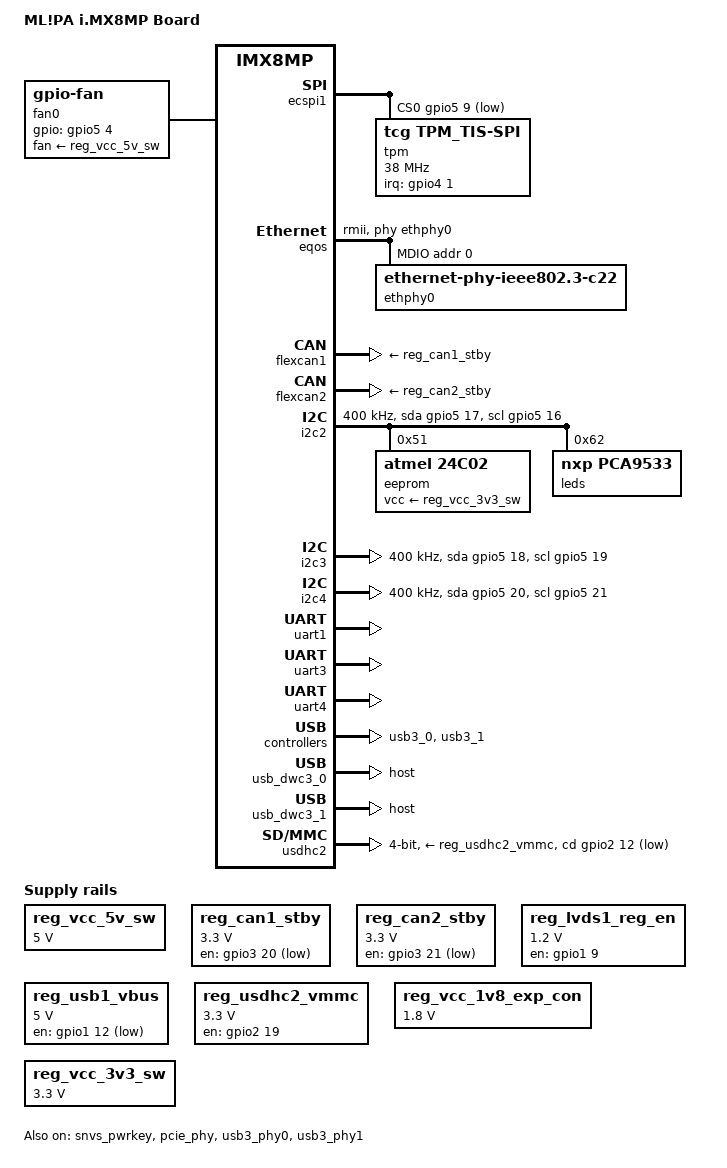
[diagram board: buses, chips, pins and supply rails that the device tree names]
// SPDX-License-Identifier: (GPL-2.0-or-later OR MIT)
/*
 * Copyright (C) 2020 PHYTEC Messtechnik GmbH
 * Author: Teresa Remmet <t.remmet@phytec.de>
 */

/dts-v1/;

#include <dt-bindings/phy/phy-imx8-pcie.h>
#include <dt-bindings/leds/leds-pca9532.h>
#include <dt-bindings/thermal/thermal.h>
#include "imx8mp-phycore-som.dtsi"

/ {
	model = "ML!PA i.MX8MP Board";
	compatible = "phytec,imx8mp-mlpa", "phytec,imx8mp-phycore-som", "fsl,imx8mp";

	chosen {
		stdout-path = &uart1;
	};

	backlight_lvds1: backlight1 {
		compatible = "pwm-backlight";
		pinctrl-0 = <&pinctrl_lvds1>;
		pinctrl-names = "default";
		power-supply = <&reg_lvds1_reg_en>;
		status = "disabled";
	};

	fan0: fan {
		compatible = "gpio-fan";
		pinctrl-names = "default";
		pinctrl-0 = <&pinctrl_fan>;
		fan-supply = <&reg_vcc_5v_sw>;
		gpio-fan,speed-map = <0     0
				      13000 1>;
		gpios = <&gpio5 4 GPIO_ACTIVE_HIGH>;
		#cooling-cells = <2>;
	};

	panel_lvds1: panel-lvds1 {
		/* compatible panel in overlay */
		backlight = <&backlight_lvds1>;
		power-supply = <&reg_vcc_3v3_sw>;
		status = "disabled";

		port {
			panel1_in: endpoint {
				remote-endpoint = <&mlpa_ldb_lvds_ch1>;
			};
		};
	};

	reg_vcc_5v_sw: regulator-vcc-5v-sw {
		compatible = "regulator-fixed";
		regulator-always-on;
		regulator-boot-on;
		regulator-max-microvolt = <5000000>;
		regulator-min-microvolt = <5000000>;
		regulator-name = "VCC_5V_SW";
	};

	/* Minimal local LDB node to keep MLPA LVDS endpoint wiring buildable. */
	ldb: ldb-display-controller {
		#address-cells = <1>;
		#size-cells = <0>;
		compatible = "fsl,imx8mp-ldb";
		status = "disabled";

		lvds-channel@0 {
			reg = <0>;
			status = "disabled";
		};

		lvds-channel@1 {
			reg = <1>;
			status = "disabled";
		};
	};

	reg_can1_stby: regulator-can1-stby {
		compatible = "regulator-fixed";
		pinctrl-names = "default";
		pinctrl-0 = <&pinctrl_flexcan1_reg>;
		gpio = <&gpio3 20 GPIO_ACTIVE_LOW>;
		regulator-max-microvolt = <3300000>;
		regulator-min-microvolt = <3300000>;
		regulator-name = "can1-stby";
	};

	reg_can2_stby: regulator-can2-stby {
		compatible = "regulator-fixed";
		pinctrl-names = "default";
		pinctrl-0 = <&pinctrl_flexcan2_reg>;
		gpio = <&gpio3 21 GPIO_ACTIVE_LOW>;
		regulator-max-microvolt = <3300000>;
		regulator-min-microvolt = <3300000>;
		regulator-name = "can2-stby";
	};

	reg_lvds1_reg_en: regulator-lvds1 {
		compatible = "regulator-fixed";
		enable-active-high;
		gpio = <&gpio1 9 GPIO_ACTIVE_HIGH>;
		regulator-max-microvolt = <1200000>;
		regulator-min-microvolt = <1200000>;
		regulator-name = "lvds1_reg_en";
	};

	reg_usb1_vbus: regulator-usb1-vbus {
		compatible = "regulator-fixed";
		pinctrl-names = "default";
		pinctrl-0 = <&pinctrl_usb1_vbus>;
		gpio = <&gpio1 12 GPIO_ACTIVE_LOW>;
		regulator-max-microvolt = <5000000>;
		regulator-min-microvolt = <5000000>;
		regulator-name = "usb1_host_vbus";
	};

	reg_usdhc2_vmmc: regulator-usdhc2 {
		compatible = "regulator-fixed";
		pinctrl-names = "default";
		pinctrl-0 = <&pinctrl_reg_usdhc2_vmmc>;
		regulator-name = "VSD_3V3";
		regulator-min-microvolt = <3300000>;
		regulator-max-microvolt = <3300000>;
		gpio = <&gpio2 19 GPIO_ACTIVE_HIGH>;
		enable-active-high;
		startup-delay-us = <100>;
		off-on-delay-us = <12000>;
	};

	reg_vcc_1v8_exp_con: regulator-vcc-1v8 {
		compatible = "regulator-fixed";
		regulator-always-on;
		regulator-boot-on;
		regulator-max-microvolt = <1800000>;
		regulator-min-microvolt = <1800000>;
		regulator-name = "VCC_1V8_EXP_CON";
	};

	reg_vcc_3v3_sw: regulator-vcc-3v3-sw {
		compatible = "regulator-fixed";
		regulator-name = "VCC_3V3_SW";
		regulator-min-microvolt = <3300000>;
		regulator-max-microvolt = <3300000>;
	};

	thermal-zones {
		soc-thermal {
			trips {
				active1: trip2 {
					temperature = <60000>;
					hysteresis = <2000>;
					type = "active";
				};
			};

			cooling-maps {
				map1 {
					trip = <&active1>;
					cooling-device = <&fan0 1 THERMAL_NO_LIMIT>;
				};
			};
		};
	};
};

/* TPM */
&ecspi1 {
	#address-cells = <1>;
	#size-cells = <0>;
	cs-gpios = <&gpio5 9 GPIO_ACTIVE_LOW>;
	num-cs = <1>;
	pinctrl-names = "default";
	pinctrl-0 = <&pinctrl_ecspi1 &pinctrl_ecspi1_cs>;
	status = "okay";

	tpm: tpm_tis@0 {
		compatible = "tcg,tpm_tis-spi","infineon,slb9670";
		interrupts = <1 IRQ_TYPE_LEVEL_LOW>;
		interrupt-parent = <&gpio4>;
		pinctrl-names = "default";
		pinctrl-0 = <&pinctrl_tpm>;
		reg = <0>;
		spi-max-frequency = <38000000>;
		status = "okay";
	};
};

&fec {
	/* SIL0 board does not have Gigabit wired up */
	max-speed = <100>;
};

&eqos {
	pinctrl-names = "default";
	pinctrl-0 = <&pinctrl_eqos>;
	phy-mode = "rmii";
	phy-handle = <&ethphy0>;
	status = "okay";
	max-speed = <100>;
	snps,rmii_refclk_ext;

	mdio {
		compatible = "snps,dwmac-mdio";
		#address-cells = <1>;
		#size-cells = <0>;

		ethphy0: ethernet-phy@0 {
			compatible = "ethernet-phy-ieee802.3-c22";
			reg = <0x0>;
		};
	};
};

/* CAN FD */
&flexcan1 {
	pinctrl-names = "default";
	pinctrl-0 = <&pinctrl_flexcan1>;
	xceiver-supply = <&reg_can1_stby>;
	status = "okay";
};

&flexcan2 {
	pinctrl-names = "default";
	pinctrl-0 = <&pinctrl_flexcan2>;
	xceiver-supply = <&reg_can2_stby>;
	status = "okay";
};

&i2c2 {
	clock-frequency = <400000>;
	pinctrl-names = "default", "gpio";
	pinctrl-0 = <&pinctrl_i2c2>;
	pinctrl-1 = <&pinctrl_i2c2_gpio>;
	sda-gpios = <&gpio5 17 (GPIO_ACTIVE_HIGH | GPIO_OPEN_DRAIN)>;
	scl-gpios = <&gpio5 16 (GPIO_ACTIVE_HIGH | GPIO_OPEN_DRAIN)>;
	status = "okay";

	eeprom@51 {
		compatible = "atmel,24c02";
		reg = <0x51>;
		pagesize = <16>;
		vcc-supply = <&reg_vcc_3v3_sw>;
	};

	leds@62 {
		compatible = "nxp,pca9533";
		reg = <0x62>;

		led-1 {
			type = <PCA9532_TYPE_LED>;
		};

		led-2 {
			type = <PCA9532_TYPE_LED>;
		};

		led-3 {
			type = <PCA9532_TYPE_LED>;
		};
	};
};

&i2c3 {
       clock-frequency = <400000>;
       pinctrl-names = "default", "gpio";
       pinctrl-0 = <&pinctrl_i2c3>;
       pinctrl-1 = <&pinctrl_i2c3_gpio>;
       sda-gpios = <&gpio5 18 (GPIO_ACTIVE_HIGH | GPIO_OPEN_DRAIN)>;
       scl-gpios = <&gpio5 19 (GPIO_ACTIVE_HIGH | GPIO_OPEN_DRAIN)>;
};

csi3_i2c: &i2c4 {
	clock-frequency = <400000>;
	pinctrl-names = "default", "gpio";
	pinctrl-0 = <&pinctrl_i2c4>;
	pinctrl-1 = <&pinctrl_i2c4_gpio>;
	sda-gpios = <&gpio5 20 (GPIO_ACTIVE_HIGH | GPIO_OPEN_DRAIN)>;
	scl-gpios = <&gpio5 21 (GPIO_ACTIVE_HIGH | GPIO_OPEN_DRAIN)>;
	status = "okay";
};

&ldb {
	lvds-channel@0 {
		status = "disabled";
	};

	lvds-channel@1 {
		#address-cells = <1>;
		#size-cells = <0>;
		fsl,data-mapping = "spwg";
		fsl,data-width = <24>;
		status = "okay";

		port@1 {
			reg = <1>;

				mlpa_ldb_lvds_ch1: endpoint {
				remote-endpoint = <&panel1_in>;
			};
		};
	};
};

&snvs_pwrkey {
	status = "okay";
};

&pcie_phy {
	clocks = <&hsio_blk_ctrl>;
	clock-names = "ref";
	fsl,refclk-pad-mode = <IMX8_PCIE_REFCLK_PAD_OUTPUT>;
	fsl,clkreq-unsupported;
	status = "okay";
};

/* Mini PCIe */
&pcie {
	status = "disabled";
};

&pwm3 {
	pinctrl-0 = <&pinctrl_pwm3>;
	pinctrl-names = "default";
};

&rv3028 {
	status = "disabled";
};

/* debug console */
&uart1 {
	pinctrl-names = "default";
	pinctrl-0 = <&pinctrl_uart1>;
	status = "okay";
};

&uart3 {
	pinctrl-names = "default";
	pinctrl-0 = <&pinctrl_uart3>;
	assigned-clocks = <&clk IMX8MP_CLK_UART3>;
	assigned-clock-parents = <&clk IMX8MP_SYS_PLL1_80M>;
	status = "okay";
};

&uart4 {
	pinctrl-names = "default";
	pinctrl-0 = <&pinctrl_uart4>;
	assigned-clocks = <&clk IMX8MP_CLK_UART4>;
	assigned-clock-parents = <&clk IMX8MP_SYS_PLL1_80M>;
	status = "okay";
};

/* USB */
&usb3_phy0 {
	status = "okay";
};

&usb3_0 {
	status = "okay";
};

&usb_dwc3_0 {
	dr_mode = "host";
	status = "okay";
};

&usb3_phy1 {
	status = "okay";
};

&usb3_1 {
	status = "okay";
};

&usb_dwc3_1 {
	dr_mode = "host";
	status = "okay";
};

/* SD-Card */
&usdhc2 {
	assigned-clocks = <&clk IMX8MP_CLK_USDHC2>;
	assigned-clock-rates = <200000000>;
	pinctrl-names = "default", "state_100mhz", "state_200mhz";
	pinctrl-0 = <&pinctrl_usdhc2>, <&pinctrl_usdhc2_pins>;
	pinctrl-1 = <&pinctrl_usdhc2_100mhz>, <&pinctrl_usdhc2_pins>;
	pinctrl-2 = <&pinctrl_usdhc2_200mhz>, <&pinctrl_usdhc2_pins>;
	cd-gpios = <&gpio2 12 GPIO_ACTIVE_LOW>;
	disable-wp;
	vmmc-supply = <&reg_usdhc2_vmmc>;
	vqmmc-supply = <&ldo5>;
	bus-width = <4>;
	status = "okay";
};

&gpio1 {
	gpio-line-names = "", "", "X_PMIC_WDOG_B", "",
		"PMIC_SD_VSEL", "", "", "", "PCIe_nPERST", "LVDS1REG_EN",
		"PCIe_nWAKE", "PCIe_nCLKREQ", "USB1_OTG_PWR", "",
		"PCIe_nW_DISABLE";
};

&gpio2 {
	gpio-line-names = "", "", "", "",
		"", "", "", "", "", "",
		"", "", "X_SD2_CD_B", "", "", "",
		"", "", "", "SD2_RESET_B", "LVDS1_BL_EN";
};

&gpio3 {
	gpio-line-names = "", "", "", "",
		"", "", "", "", "", "",
		"", "", "", "", "", "",
		"", "", "", "", "nCAN1_EN", "nCAN2_EN";
};

&gpio4 {
	gpio-line-names = "", "", "", "",
		"", "", "", "", "", "",
		"", "", "", "", "", "",
		"", "", "X_PMIC_IRQ_B", "nRTC_INT", "nENET0_INT_PWDN";
};

&gpio5 {
	gpio-line-names = "", "", "", "",
		"", "", "", "", "", "X_ECSPI1_SSO";
};

&iomuxc {
	pinctrl_ecspi1: ecspi1grp {
		fsl,pins = <
			MX8MP_IOMUXC_ECSPI1_MISO__ECSPI1_MISO	0x80
			MX8MP_IOMUXC_ECSPI1_MOSI__ECSPI1_MOSI	0x80
			MX8MP_IOMUXC_ECSPI1_SCLK__ECSPI1_SCLK	0x80
		>;
	};

	pinctrl_ecspi1_cs: ecspi1csgrp {
		fsl,pins = <
			MX8MP_IOMUXC_ECSPI1_SS0__GPIO5_IO09	0x00
		>;
	};

	pinctrl_tpm: tpmgrp {
		fsl,pins = <
			MX8MP_IOMUXC_SAI1_RXC__GPIO4_IO01	0x140
		>;
	};

    pinctrl_eqos: eqosgrp {
        fsl,pins = <
			MX8MP_IOMUXC_ENET_MDC__ENET_QOS_MDC             0x2	/* A32 */
			MX8MP_IOMUXC_ENET_MDIO__ENET_QOS_MDIO           0x2	/* A15 */
			MX8MP_IOMUXC_ENET_TD0__ENET_QOS_RGMII_TD0       0x16	/* A17 */
			MX8MP_IOMUXC_ENET_TD1__ENET_QOS_RGMII_TD1       0x16	/* A18 */
			MX8MP_IOMUXC_ENET_TD2__CCM_ENET_QOS_CLOCK_GENERATE_REF_CLK      0x90	/* A19 */
			MX8MP_IOMUXC_ENET_TX_CTL__ENET_QOS_RGMII_TX_CTL 0x16	/* A22 */
			MX8MP_IOMUXC_ENET_RX_CTL__ENET_QOS_RGMII_RX_CTL 0x90	/* A24 */
			MX8MP_IOMUXC_ENET_RXC__ENET_QOS_RX_ER           0x90	/* A25 */
			MX8MP_IOMUXC_ENET_RD0__ENET_QOS_RGMII_RD0       0x90	/* A27 */
			MX8MP_IOMUXC_ENET_RD1__ENET_QOS_RGMII_RD1       0x90	/* A28 */
		>;
	};

	pinctrl_fan: fan0grp {
		fsl,pins = <
			MX8MP_IOMUXC_SPDIF_RX__GPIO5_IO04       0x16
		>;
	};

	pinctrl_flexcan1: flexcan1grp {
		fsl,pins = <
			MX8MP_IOMUXC_SAI5_RXD2__CAN1_RX		0x154
			MX8MP_IOMUXC_SAI5_RXD1__CAN1_TX		0x154
		>;
	};

	pinctrl_flexcan2: flexcan2grp {
		fsl,pins = <
			MX8MP_IOMUXC_SAI5_MCLK__CAN2_RX		0x154
			MX8MP_IOMUXC_SAI5_RXD3__CAN2_TX		0x154
		>;
	};

	pinctrl_flexcan1_reg: flexcan1reggrp {
		fsl,pins = <
			MX8MP_IOMUXC_SAI5_RXC__GPIO3_IO20	0x154
		>;
	};

	pinctrl_flexcan2_reg: flexcan2reggrp {
		fsl,pins = <
			MX8MP_IOMUXC_SAI5_RXD0__GPIO3_IO21	0x154
		>;
	};

	pinctrl_i2c2: i2c2grp {
		fsl,pins = <
			MX8MP_IOMUXC_I2C2_SCL__I2C2_SCL		0x400001c2
			MX8MP_IOMUXC_I2C2_SDA__I2C2_SDA		0x400001c2
		>;
	};

	pinctrl_i2c2_gpio: i2c2gpiogrp {
		fsl,pins = <
			MX8MP_IOMUXC_I2C2_SCL__GPIO5_IO16	0x1e2
			MX8MP_IOMUXC_I2C2_SDA__GPIO5_IO17	0x1e2
		>;
	};

	pinctrl_i2c3: i2c3grp {
		fsl,pins = <
			MX8MP_IOMUXC_I2C3_SCL__I2C3_SCL         0x400001c2
			MX8MP_IOMUXC_I2C3_SDA__I2C3_SDA         0x400001c2
		>;
	};

	pinctrl_i2c3_gpio: i2c3gpiogrp {
		fsl,pins = <
			MX8MP_IOMUXC_I2C3_SCL__GPIO5_IO18       0x1e2
			MX8MP_IOMUXC_I2C3_SDA__GPIO5_IO19       0x1e2
		>;
	};

	pinctrl_i2c4: i2c4grp {
		fsl,pins = <
			MX8MP_IOMUXC_I2C4_SCL__I2C4_SCL		0x400001c4
			MX8MP_IOMUXC_I2C4_SDA__I2C4_SDA		0x400001c4
		>;
	};

	pinctrl_i2c4_gpio: i2c4gpiogrp {
		fsl,pins = <
			MX8MP_IOMUXC_I2C4_SCL__GPIO5_IO20	0x1e4
			MX8MP_IOMUXC_I2C4_SDA__GPIO5_IO21	0x1e4
		>;
	};

	pinctrl_lvds1: lvds1grp {
		fsl,pins = <
			MX8MP_IOMUXC_SD2_WP__GPIO2_IO20		0x12
		>;
	};

	pinctrl_pwm3: pwm3grp {
		fsl,pins = <
			MX8MP_IOMUXC_SPDIF_TX__PWM3_OUT		0x12
		>;
	};

	pinctrl_reg_usdhc2_vmmc: regusdhc2vmmcgrp {
		fsl,pins = <
			MX8MP_IOMUXC_SD2_RESET_B__GPIO2_IO19	0x40
		>;
	};

	pinctrl_rtc: rtcgrp {
		fsl,pins = <
			MX8MP_IOMUXC_SAI1_TXD7__GPIO4_IO19	0x1C0
		>;
	};

	pinctrl_uart1: uart1grp {
		fsl,pins = <
			MX8MP_IOMUXC_UART1_RXD__UART1_DCE_RX	0x140
			MX8MP_IOMUXC_UART1_TXD__UART1_DCE_TX	0x140
		>;
	};

	pinctrl_usb1_vbus: usb1vbusgrp {
		fsl,pins = <
			MX8MP_IOMUXC_GPIO1_IO12__GPIO1_IO12     0x10
		>;
	};

	pinctrl_uart3: uart3grp {
		fsl,pins = <
			MX8MP_IOMUXC_UART3_RXD__UART3_DCE_RX	0x49
			MX8MP_IOMUXC_UART3_TXD__UART3_DCE_TX	0x49
		>;
	};

	pinctrl_uart4: uart4grp {
		fsl,pins = <
			MX8MP_IOMUXC_UART4_RXD__UART4_DCE_RX	0x49
			MX8MP_IOMUXC_UART4_TXD__UART4_DCE_TX	0x49
		>;
	};
	pinctrl_usdhc2_pins: usdhc2-gpiogrp {
		fsl,pins = <
			MX8MP_IOMUXC_SD2_CD_B__GPIO2_IO12	0x40
		>;
	};

	pinctrl_usdhc2: usdhc2grp {
		fsl,pins = <
			MX8MP_IOMUXC_SD2_CLK__USDHC2_CLK	0x190
			MX8MP_IOMUXC_SD2_CMD__USDHC2_CMD	0x1d0
			MX8MP_IOMUXC_SD2_DATA0__USDHC2_DATA0	0x1d0
			MX8MP_IOMUXC_SD2_DATA1__USDHC2_DATA1	0x1d0
			MX8MP_IOMUXC_SD2_DATA2__USDHC2_DATA2	0x1d0
			MX8MP_IOMUXC_SD2_DATA3__USDHC2_DATA3	0x1d0
			MX8MP_IOMUXC_GPIO1_IO04__USDHC2_VSELECT	0xc0
		>;
	};

	pinctrl_usdhc2_100mhz: usdhc2-100mhzgrp {
		fsl,pins = <
			MX8MP_IOMUXC_SD2_CLK__USDHC2_CLK	0x194
			MX8MP_IOMUXC_SD2_CMD__USDHC2_CMD	0x1d4
			MX8MP_IOMUXC_SD2_DATA0__USDHC2_DATA0	0x1d4
			MX8MP_IOMUXC_SD2_DATA1__USDHC2_DATA1	0x1d4
			MX8MP_IOMUXC_SD2_DATA2__USDHC2_DATA2	0x1d4
			MX8MP_IOMUXC_SD2_DATA3__USDHC2_DATA3	0x1d4
			MX8MP_IOMUXC_GPIO1_IO04__USDHC2_VSELECT	0xc0
		>;
	};

	pinctrl_usdhc2_200mhz: usdhc2-200mhzgrp {
		fsl,pins = <
			MX8MP_IOMUXC_SD2_CLK__USDHC2_CLK	0x196
			MX8MP_IOMUXC_SD2_CMD__USDHC2_CMD	0x1d6
			MX8MP_IOMUXC_SD2_DATA0__USDHC2_DATA0	0x1d6
			MX8MP_IOMUXC_SD2_DATA1__USDHC2_DATA1	0x1d6
			MX8MP_IOMUXC_SD2_DATA2__USDHC2_DATA2	0x1d6
			MX8MP_IOMUXC_SD2_DATA3__USDHC2_DATA3	0x1d6
			MX8MP_IOMUXC_GPIO1_IO04__USDHC2_VSELECT	0xc0
		>;
	};
};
